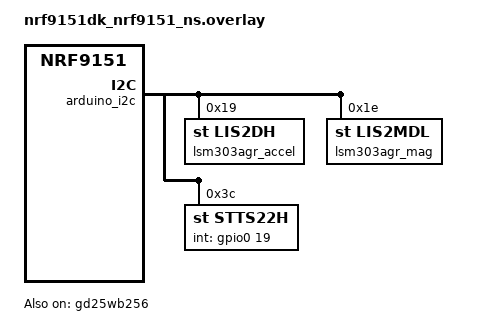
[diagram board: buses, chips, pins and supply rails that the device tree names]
#include <zephyr/dt-bindings/sensor/stts22h.h>

&gd25wb256 {
  status = "okay";
};

/ {
  chosen {
      nordic,pm-ext-flash = &gd25wb256;
  };
};

&arduino_i2c {
  status = "okay";

  lsm303agr_accel: lsm303agr_accel@19 {
    compatible = "st,lis2dh";
    reg = <0x19>;
  };

  lsm303agr_mag: lsm303agr_mag@1e {
    compatible = "st,lis2mdl";
    reg = <0x1e>;
  };

  stts22h: stts22h@3c {
    compatible = "st,stts22h";
    reg = <0x3c>;
    sampling-rate = <STTS22H_1Hz>;
    int-gpios = <&gpio0 19 GPIO_ACTIVE_HIGH>;
  };
};
